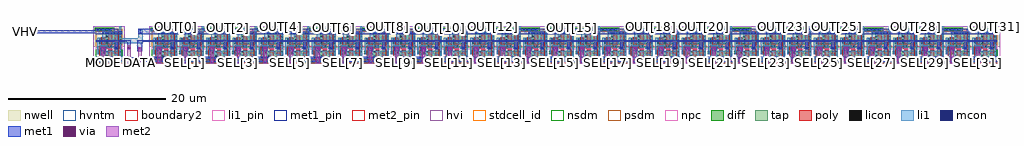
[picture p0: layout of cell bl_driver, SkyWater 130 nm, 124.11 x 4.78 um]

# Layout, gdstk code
import gdstk
lib = gdstk.Library(unit=1e-6, precision=1e-09)
def R(c, l, rs):  # rectangles x0, y0, x1, y1
    for r in rs: c.add(gdstk.rectangle(r[:2], r[2:], *l))
def A(c, l, x, y, w, h, nx, ny, dx, dy):  # array of equal rectangles
    R(c, l, [(x+i*dx, y+j*dy, x+i*dx+w, y+j*dy+h) for i in range(nx) for j in range(ny)])
def P(c, l, *ps):  # polygons
    for p in ps: c.add(gdstk.Polygon(p, *l))
nwell = (64, 20)
diff = (65, 20)
tap = (65, 44)
poly = (66, 20)
licon = (66, 44)
li1_pin = (67, 16)
li1 = (67, 20)
mcon = (67, 44)
met1_pin = (68, 16)
met1 = (68, 20)
via = (68, 44)
met2_pin = (69, 16)
met2 = (69, 20)
hvi = (75, 20)
stdcell_id = (81, 4)
nsdm = (93, 44)
psdm = (94, 20)
npc = (95, 20)
hvntm = (125, 20)
boundary2 = (236, 0)

sky130_fd_sc_hvl__einvp_ = lib.new_cell('sky130_fd_sc_hvl__einvp_1')
R(sky130_fd_sc_hvl__einvp_, nwell, [(-0.33,1.885,3.69,4.485)])
P(sky130_fd_sc_hvl__einvp_, diff, [(0.4,2.215),(0.4,2.965),(1.28,2.965),(1.28,3.715),(3.21,3.715),(3.21,2.215)],
  [(1.28,0.615),(1.28,0.945),(0.15,0.945),(0.15,1.365),(3.21,1.365),(3.21,0.615)])
R(sky130_fd_sc_hvl__einvp_, tap, [(0,-0.085,3.36,0.085), (0,3.985,2.04,4.155)])
P(sky130_fd_sc_hvl__einvp_, poly, [(1.395,1.705),(1.395,2.105),(1.565,2.105),(1.565,3.845),(2.065,3.845),(2.065,1.705)],
  [(0.435,0.14),(0.435,2.085),(0.685,2.085),(0.685,3.095),(1.185,3.095),(1.185,1.495),(0.935,1.495),(0.935,0.505),(1.565,0.505),(1.565,1.495),(2.065,1.495),(2.065,0.14)],
  [(2.425,0.485),(2.425,1.625),(2.275,1.625),(2.275,1.955),(2.425,1.955),(2.425,3.845),(2.925,3.845),(2.925,1.955),(2.945,1.955),(2.945,1.625),(2.925,1.625),(2.925,0.485)])
A(sky130_fd_sc_hvl__einvp_, licon, 0.155, -0.085, 0.17, 0.17, 7, 1, 0.48, 0)
A(sky130_fd_sc_hvl__einvp_, licon, 0.155, 3.985, 0.17, 0.17, 4, 1, 0.48, 0)
R(sky130_fd_sc_hvl__einvp_, licon, [(1.34,0.655,1.51,0.825), (2.98,0.655,3.15,0.825), (0.21,1.07,0.38,1.24), (0.99,1.07,1.16,1.24), (1.34,1.155,1.51,1.325), (2.98,1.155,3.15,1.325), (0.595,1.575,0.765,1.745), (0.935,1.575,1.105,1.745), (2.355,1.705,2.525,1.875), (2.695,1.705,2.865,1.875), (1.475,1.805,1.645,1.975), (1.815,1.805,1.985,1.975), (0.46,2.255,0.63,2.425), (2.98,2.255,3.15,2.425), (1.34,2.28,1.51,2.45), (2.98,2.67,3.15,2.84), (1.34,2.685,1.51,2.855), (0.46,2.755,0.63,2.925), (2.98,3.09,3.15,3.26), (1.34,3.1,1.51,3.27), (1.34,3.505,1.51,3.675), (2.98,3.505,3.15,3.675)])
A(sky130_fd_sc_hvl__einvp_, li1_pin, 3.035, 0.84, 0.17, 0.17, 1, 7, 0, 0.37)
A(sky130_fd_sc_hvl__einvp_, li1_pin, 2.555, 1.21, 0.17, 0.17, 1, 4, 0, 0.37)
R(sky130_fd_sc_hvl__einvp_, li1_pin, [(0.635,1.58,0.805,1.75), (1.115,1.58,1.285,1.75)])
R(sky130_fd_sc_hvl__einvp_, li1, [(0,-0.085,3.36,0.085), (0.515,1.505,1.305,1.75), (0,3.985,2.04,4.155)])
P(sky130_fd_sc_hvl__einvp_, li1, [(2.98,0.575),(2.98,1.455),(3.035,1.455),(3.035,2.125),(2.98,2.125),(2.98,4.485),(3.235,4.485),(3.235,0.575)],
  [(2.445,1.16),(2.445,1.625),(2.275,1.625),(2.275,1.955),(2.445,1.955),(2.445,2.54),(2.81,2.54),(2.81,1.955),(2.865,1.955),(2.865,1.625),(2.81,1.625),(2.81,1.16)],
  [(0.83,2.28),(0.83,3.755),(2.8,3.755),(2.8,2.71),(2.275,2.71),(2.275,2.28)],
  [(0.47,0.365),(0.47,0.735),(0.55,0.735),(0.55,1.335),(2.275,1.335),(2.275,0.99),(2.8,0.99),(2.8,0.365)],
  [(0.175,0.905),(0.175,3.005),(0.65,3.005),(0.65,2.1),(2.065,2.1),(2.065,1.725),(1.475,1.725),(1.475,1.93),(0.345,1.93),(0.345,1.335),(0.38,1.335),(0.38,0.905)])
A(sky130_fd_sc_hvl__einvp_, mcon, 0.47, 0.395, 0.17, 0.17, 7, 1, 0.36, 0)
A(sky130_fd_sc_hvl__einvp_, mcon, 0.83, 3.505, 0.17, 0.17, 6, 1, 0.36, 0)
R(sky130_fd_sc_hvl__einvp_, mcon, [(0.155,-0.085,0.325,0.085), (0.155,-0.085,0.325,0.085), (0.635,-0.085,0.805,0.085), (0.635,-0.085,0.805,0.085), (1.115,-0.085,1.285,0.085), (1.115,-0.085,1.285,0.085), (1.595,-0.085,1.765,0.085), (1.595,-0.085,1.765,0.085), (2.075,-0.085,2.245,0.085), (2.075,-0.085,2.245,0.085), (2.555,-0.085,2.725,0.085), (2.555,-0.085,2.725,0.085), (3.035,-0.085,3.205,0.085), (3.035,-0.085,3.205,0.085), (0.87,1.575,1.04,1.745), (2.5,1.705,2.67,1.875), (0.155,3.985,0.325,4.155), (0.155,3.985,0.325,4.155), (0.635,3.985,0.805,4.155), (0.635,3.985,0.805,4.155), (1.115,3.985,1.285,4.155), (1.115,3.985,1.285,4.155), (1.595,3.985,1.765,4.155), (1.595,3.985,1.765,4.155)])
R(sky130_fd_sc_hvl__einvp_, met1_pin, [(0,0,3.36,0.115), (0,0.255,3.36,0.625), (0,3.445,3.36,3.815), (0,3.955,2.82,4.07)])
R(sky130_fd_sc_hvl__einvp_, met1, [(0,-0.115,3.36,0.115), (0,0.255,3.36,0.625), (0.61,1.37,1.23,1.9), (2.42,1.54,2.82,2.49), (0,2.49,3.36,2.73), (0,3.445,3.36,3.815), (0,3.955,2.82,4.185)])
R(sky130_fd_sc_hvl__einvp_, via, [(0.87,1.57,1.04,1.74)])
R(sky130_fd_sc_hvl__einvp_, met2, [(0.7,-0.22,1.17,1.9)])
R(sky130_fd_sc_hvl__einvp_, hvi, [(-0.33,-0.265,3.69,4.485)])
R(sky130_fd_sc_hvl__einvp_, stdcell_id, [(0,0,3.36,4.07)])
R(sky130_fd_sc_hvl__einvp_, nsdm, [(0,0.215,3.36,1.885), (-0.13,3.855,2.31,4.285), (0,3.855,2.31,4.07)])
R(sky130_fd_sc_hvl__einvp_, psdm, [(-0.13,-0.215,3.49,0.215)])
P(sky130_fd_sc_hvl__einvp_, psdm, [(0,1.885),(0,3.855),(3.36,3.855),(3.36,1.985),(2.095,1.985),(2.095,2.085),(1.365,2.085),(1.365,1.885)])
P(sky130_fd_sc_hvl__einvp_, npc, [(0.495,1.475),(0.495,1.545),(0,1.545),(0,1.97),(1.375,1.97),(1.375,2.075),(2.085,2.075),(2.085,1.975),(3.36,1.975),(3.36,1.545),(1.205,1.545),(1.205,1.475)])
R(sky130_fd_sc_hvl__einvp_, hvntm, [(-0.035,0.35,3.395,1.64)])
R(sky130_fd_sc_hvl__einvp_, boundary2, [(0,0,3.36,4.07)])
sky130_fd_sc_hvl__einvp_.add(gdstk.Label('A', (2.64,2.035), layer=67, texttype=5))
sky130_fd_sc_hvl__einvp_.add(gdstk.Label('A', (2.64,1.665), layer=67, texttype=5))
sky130_fd_sc_hvl__einvp_.add(gdstk.Label('TE', (0.72,1.665), layer=67, texttype=5))
sky130_fd_sc_hvl__einvp_.add(gdstk.Label('TE', (1.2,1.665), layer=67, texttype=5))
sky130_fd_sc_hvl__einvp_.add(gdstk.Label('Z', (3.12,0.925), layer=67, texttype=5))
sky130_fd_sc_hvl__einvp_.add(gdstk.Label('Z', (3.12,1.295), layer=67, texttype=5))
sky130_fd_sc_hvl__einvp_.add(gdstk.Label('Z', (3.12,1.665), layer=67, texttype=5))
sky130_fd_sc_hvl__einvp_.add(gdstk.Label('Z', (3.12,2.035), layer=67, texttype=5))
sky130_fd_sc_hvl__einvp_.add(gdstk.Label('Z', (3.12,2.405), layer=67, texttype=5))
sky130_fd_sc_hvl__einvp_.add(gdstk.Label('Z', (3.12,2.775), layer=67, texttype=5))
sky130_fd_sc_hvl__einvp_.add(gdstk.Label('Z', (3.12,3.145), layer=67, texttype=5))
sky130_fd_sc_hvl__einvp_.add(gdstk.Label('A', (2.64,1.295), layer=67, texttype=5))
sky130_fd_sc_hvl__einvp_.add(gdstk.Label('A', (2.64,2.405), layer=67, texttype=5))
sky130_fd_sc_hvl__einvp_.add(gdstk.Label('einvp_1', (0,0), layer=83, texttype=44))
sky130_fd_sc_hvl__einvp_.add(gdstk.Label('VGND', (1.68,0.44), layer=68, texttype=5))
sky130_fd_sc_hvl__einvp_.add(gdstk.Label('VNB', (1.68,0.058), layer=68, texttype=5))
sky130_fd_sc_hvl__einvp_.add(gdstk.Label('VPWR', (1.68,3.63), layer=68, texttype=5))
sky130_fd_sc_hvl__einvp_.add(gdstk.Label('VPB', (1.68,4.013), layer=68, texttype=5))

bl_driver = lib.new_cell('bl_driver')
R(bl_driver, li1_pin, [(6.74,0.05,6.99,0.34), (6.74,0.05,6.99,0.34), (10.1,0.05,10.35,0.34), (10.1,0.05,10.35,0.34), (13.46,0.05,13.71,0.34), (13.46,0.05,13.71,0.34), (16.82,0.05,17.07,0.34), (16.82,0.05,17.07,0.34), (20.18,0.05,20.43,0.34), (20.18,0.05,20.43,0.34), (23.54,0.05,23.79,0.34), (23.54,0.05,23.79,0.34), (26.9,0.05,27.15,0.34), (26.9,0.05,27.15,0.34), (30.26,0.05,30.51,0.34), (30.26,0.05,30.51,0.34), (33.62,0.05,33.87,0.34), (33.62,0.05,33.87,0.34), (36.98,0.05,37.23,0.34), (36.98,0.05,37.23,0.34), (40.34,0.05,40.59,0.34), (40.34,0.05,40.59,0.34), (43.7,0.05,43.95,0.34), (43.7,0.05,43.95,0.34), (47.06,0.05,47.31,0.34), (47.06,0.05,47.31,0.34), (50.42,0.05,50.67,0.34), (50.42,0.05,50.67,0.34), (53.78,0.05,54.03,0.34), (53.78,0.05,54.03,0.34), (57.14,0.05,57.39,0.34), (57.14,0.05,57.39,0.34), (60.5,0.05,60.75,0.34), (60.5,0.05,60.75,0.34), (63.86,0.05,64.11,0.34), (63.86,0.05,64.11,0.34), (67.22,0.05,67.47,0.34), (67.22,0.05,67.47,0.34), (70.58,0.05,70.83,0.34), (70.58,0.05,70.83,0.34), (73.94,0.05,74.19,0.34), (73.94,0.05,74.19,0.34), (77.3,0.05,77.55,0.34), (77.3,0.05,77.55,0.34), (80.66,0.05,80.91,0.34), (80.66,0.05,80.91,0.34), (84.02,0.05,84.27,0.34), (84.02,0.05,84.27,0.34), (87.38,0.05,87.63,0.34), (87.38,0.05,87.63,0.34), (90.74,0.05,90.99,0.34), (90.74,0.05,90.99,0.34), (94.1,0.05,94.35,0.34), (94.1,0.05,94.35,0.34), (97.46,0.05,97.71,0.34), (97.46,0.05,97.71,0.34), (100.82,0.05,101.07,0.34), (100.82,0.05,101.07,0.34), (104.18,0.05,104.43,0.34), (104.18,0.05,104.43,0.34), (107.54,0.05,107.79,0.34), (107.54,0.05,107.79,0.34), (110.9,0.05,111.15,0.34), (110.9,0.05,111.15,0.34)])
R(bl_driver, li1, [(-0.38,-1.85,2.6,-1.19), (-0.38,-1.85,2.6,-1.19), (2.03,-1.85,2.6,0.05), (2.03,-1.85,2.6,0.05)])
R(bl_driver, mcon, [(2.23,-0.595,2.4,-0.425), (2.23,-0.595,2.4,-0.425), (2.23,-0.235,2.4,-0.065), (2.23,-0.235,2.4,-0.065), (2.23,-0.235,2.4,-0.065), (2.23,-0.235,2.4,-0.065)])
R(bl_driver, met1_pin, [(-12.5,-0.53,-11.85,-0.17)])
R(bl_driver, met1, [(-3.36,-4.17,111.28,-3.63), (-3.36,-4.17,111.28,-3.63), (1.91,-2.84,2.53,-2.31), (1.91,-2.84,2.53,-2.31), (1.91,-2.84,2.53,-2.31), (1.91,-2.84,2.53,-2.31), (1.91,-2.84,2.53,-2.31), (1.91,-2.84,2.53,-2.31), (1.91,-2.84,2.53,-2.31), (1.91,-2.84,2.53,-2.31), (1.91,-2.83,2.53,-1.41), (1.91,-2.83,2.53,-1.41), (0.62,-2.59,1.06,-1.41), (0.62,-2.59,1.06,-1.41), (-0.05,-1.65,0.69,-1.41), (1.91,-1.65,3.76,-1.41), (1.91,-1.65,3.76,-1.41), (2.03,-0.69,111.28,0.05), (2.03,-0.69,111.28,0.05), (-12.5,-0.53,-0.54,-0.17), (-12.5,-0.53,-0.54,-0.17)])
R(bl_driver, via, [(2.14,-2.61,2.31,-2.44), (2.14,-2.61,2.31,-2.44), (0.75,-2.44,0.92,-2.27), (0.75,-2.44,0.92,-2.27)])
R(bl_driver, met2_pin, [(0.62,-4.43,1.09,-2.31), (2,-4.43,2.47,-2.31), (2,-4.43,2.47,-2.31), (-2.66,-4.36,-2.19,-2.24), (-2.66,-4.36,-2.19,-2.24), (4.46,-4.36,4.93,-2.24), (4.46,-4.36,4.93,-2.24), (7.82,-4.36,8.29,-2.24), (7.82,-4.36,8.29,-2.24), (11.18,-4.36,11.65,-2.24), (11.18,-4.36,11.65,-2.24), (14.54,-4.36,15.01,-2.24), (14.54,-4.36,15.01,-2.24), (17.9,-4.36,18.37,-2.24), (17.9,-4.36,18.37,-2.24), (21.26,-4.36,21.73,-2.24), (21.26,-4.36,21.73,-2.24), (24.62,-4.36,25.09,-2.24), (24.62,-4.36,25.09,-2.24), (27.98,-4.36,28.45,-2.24), (27.98,-4.36,28.45,-2.24), (31.34,-4.36,31.81,-2.24), (31.34,-4.36,31.81,-2.24), (34.7,-4.36,35.17,-2.24), (34.7,-4.36,35.17,-2.24), (38.06,-4.36,38.53,-2.24), (38.06,-4.36,38.53,-2.24), (41.42,-4.36,41.89,-2.24), (41.42,-4.36,41.89,-2.24), (44.78,-4.36,45.25,-2.24), (44.78,-4.36,45.25,-2.24), (48.14,-4.36,48.61,-2.24), (48.14,-4.36,48.61,-2.24), (51.5,-4.36,51.97,-2.24), (51.5,-4.36,51.97,-2.24), (54.86,-4.36,55.33,-2.24), (54.86,-4.36,55.33,-2.24), (58.22,-4.36,58.69,-2.24), (58.22,-4.36,58.69,-2.24), (61.58,-4.36,62.05,-2.24), (61.58,-4.36,62.05,-2.24), (64.94,-4.36,65.41,-2.24), (64.94,-4.36,65.41,-2.24), (68.3,-4.36,68.77,-2.24), (68.3,-4.36,68.77,-2.24), (71.66,-4.36,72.13,-2.24), (71.66,-4.36,72.13,-2.24), (75.02,-4.36,75.49,-2.24), (75.02,-4.36,75.49,-2.24), (78.38,-4.36,78.85,-2.24), (78.38,-4.36,78.85,-2.24), (81.74,-4.36,82.21,-2.24), (81.74,-4.36,82.21,-2.24), (85.1,-4.36,85.57,-2.24), (85.1,-4.36,85.57,-2.24), (88.46,-4.36,88.93,-2.24), (88.46,-4.36,88.93,-2.24), (91.82,-4.36,92.29,-2.24), (91.82,-4.36,92.29,-2.24), (95.18,-4.36,95.65,-2.24), (95.18,-4.36,95.65,-2.24), (98.54,-4.36,99.01,-2.24), (98.54,-4.36,99.01,-2.24), (101.9,-4.36,102.37,-2.24), (101.9,-4.36,102.37,-2.24), (105.26,-4.36,105.73,-2.24), (105.26,-4.36,105.73,-2.24), (108.62,-4.36,109.09,-2.24), (108.62,-4.36,109.09,-2.24)])
R(bl_driver, met2, [(0.62,-4.43,1.09,-2.1), (0.62,-4.43,1.09,-2.1), (2,-4.43,2.47,-2.31), (2,-4.43,2.47,-2.31), (2,-4.43,2.47,-2.31), (2,-4.43,2.47,-2.31), (2,-4.43,2.47,-2.31), (2,-4.43,2.47,-2.31), (2,-4.43,2.47,-2.31), (2,-4.43,2.47,-2.31)])
r = gdstk.Reference(sky130_fd_sc_hvl__einvp_, (50.8,-4.14)); r.repetition = gdstk.Repetition(1, 1, v1=(0,0), v2=(0,0)); bl_driver.add(r)
r = gdstk.Reference(sky130_fd_sc_hvl__einvp_, (50.8,-4.14)); r.repetition = gdstk.Repetition(1, 1, v1=(0,0), v2=(0,0)); bl_driver.add(r)
r = gdstk.Reference(sky130_fd_sc_hvl__einvp_, (54.16,-4.14)); r.repetition = gdstk.Repetition(1, 1, v1=(0,0), v2=(0,0)); bl_driver.add(r)
r = gdstk.Reference(sky130_fd_sc_hvl__einvp_, (54.16,-4.14)); r.repetition = gdstk.Repetition(1, 1, v1=(0,0), v2=(0,0)); bl_driver.add(r)
r = gdstk.Reference(sky130_fd_sc_hvl__einvp_, (50.8,-4.14)); r.repetition = gdstk.Repetition(1, 1, v1=(0,0), v2=(0,0)); bl_driver.add(r)
r = gdstk.Reference(sky130_fd_sc_hvl__einvp_, (50.8,-4.14)); r.repetition = gdstk.Repetition(1, 1, v1=(0,0), v2=(0,0)); bl_driver.add(r)
r = gdstk.Reference(sky130_fd_sc_hvl__einvp_, (50.8,-4.14)); r.repetition = gdstk.Repetition(1, 1, v1=(0,0), v2=(0,0)); bl_driver.add(r)
r = gdstk.Reference(sky130_fd_sc_hvl__einvp_, (50.8,-4.14)); r.repetition = gdstk.Repetition(1, 1, v1=(0,0), v2=(0,0)); bl_driver.add(r)
r = gdstk.Reference(sky130_fd_sc_hvl__einvp_, (54.16,-4.14)); r.repetition = gdstk.Repetition(1, 1, v1=(0,0), v2=(0,0)); bl_driver.add(r)
r = gdstk.Reference(sky130_fd_sc_hvl__einvp_, (54.16,-4.14)); r.repetition = gdstk.Repetition(1, 1, v1=(0,0), v2=(0,0)); bl_driver.add(r)
r = gdstk.Reference(sky130_fd_sc_hvl__einvp_, (50.8,-4.14)); r.repetition = gdstk.Repetition(1, 1, v1=(0,0), v2=(0,0)); bl_driver.add(r)
r = gdstk.Reference(sky130_fd_sc_hvl__einvp_, (50.8,-4.14)); r.repetition = gdstk.Repetition(1, 1, v1=(0,0), v2=(0,0)); bl_driver.add(r)
r = gdstk.Reference(sky130_fd_sc_hvl__einvp_, (87.76,-4.14)); r.repetition = gdstk.Repetition(1, 1, v1=(0,0), v2=(0,0)); bl_driver.add(r)
r = gdstk.Reference(sky130_fd_sc_hvl__einvp_, (91.12,-4.14)); r.repetition = gdstk.Repetition(1, 1, v1=(0,0), v2=(0,0)); bl_driver.add(r)
r = gdstk.Reference(sky130_fd_sc_hvl__einvp_, (94.48,-4.14)); r.repetition = gdstk.Repetition(1, 1, v1=(0,0), v2=(0,0)); bl_driver.add(r)
r = gdstk.Reference(sky130_fd_sc_hvl__einvp_, (91.12,-4.14)); r.repetition = gdstk.Repetition(1, 1, v1=(0,0), v2=(0,0)); bl_driver.add(r)
r = gdstk.Reference(sky130_fd_sc_hvl__einvp_, (97.84,-4.14)); r.repetition = gdstk.Repetition(1, 1, v1=(0,0), v2=(0,0)); bl_driver.add(r)
r = gdstk.Reference(sky130_fd_sc_hvl__einvp_, (101.2,-4.14)); r.repetition = gdstk.Repetition(1, 1, v1=(0,0), v2=(0,0)); bl_driver.add(r)
r = gdstk.Reference(sky130_fd_sc_hvl__einvp_, (104.56,-4.14)); r.repetition = gdstk.Repetition(1, 1, v1=(0,0), v2=(0,0)); bl_driver.add(r)
r = gdstk.Reference(sky130_fd_sc_hvl__einvp_, (107.92,-4.14)); r.repetition = gdstk.Repetition(1, 1, v1=(0,0), v2=(0,0)); bl_driver.add(r)
r = gdstk.Reference(sky130_fd_sc_hvl__einvp_, (57.52,-4.14)); r.repetition = gdstk.Repetition(1, 1, v1=(0,0), v2=(0,0)); bl_driver.add(r)
r = gdstk.Reference(sky130_fd_sc_hvl__einvp_, (104.56,-4.14)); r.repetition = gdstk.Repetition(1, 1, v1=(0,0), v2=(0,0)); bl_driver.add(r)
r = gdstk.Reference(sky130_fd_sc_hvl__einvp_, (97.84,-4.14)); r.repetition = gdstk.Repetition(1, 1, v1=(0,0), v2=(0,0)); bl_driver.add(r)
r = gdstk.Reference(sky130_fd_sc_hvl__einvp_, (84.4,-4.14)); r.repetition = gdstk.Repetition(1, 1, v1=(0,0), v2=(0,0)); bl_driver.add(r)
r = gdstk.Reference(sky130_fd_sc_hvl__einvp_, (57.52,-4.14)); r.repetition = gdstk.Repetition(1, 1, v1=(0,0), v2=(0,0)); bl_driver.add(r)
r = gdstk.Reference(sky130_fd_sc_hvl__einvp_, (60.88,-4.14)); r.repetition = gdstk.Repetition(1, 1, v1=(0,0), v2=(0,0)); bl_driver.add(r)
r = gdstk.Reference(sky130_fd_sc_hvl__einvp_, (64.24,-4.14)); r.repetition = gdstk.Repetition(1, 1, v1=(0,0), v2=(0,0)); bl_driver.add(r)
r = gdstk.Reference(sky130_fd_sc_hvl__einvp_, (67.6,-4.14)); r.repetition = gdstk.Repetition(1, 1, v1=(0,0), v2=(0,0)); bl_driver.add(r)
r = gdstk.Reference(sky130_fd_sc_hvl__einvp_, (64.24,-4.14)); r.repetition = gdstk.Repetition(1, 1, v1=(0,0), v2=(0,0)); bl_driver.add(r)
r = gdstk.Reference(sky130_fd_sc_hvl__einvp_, (70.96,-4.14)); r.repetition = gdstk.Repetition(1, 1, v1=(0,0), v2=(0,0)); bl_driver.add(r)
r = gdstk.Reference(sky130_fd_sc_hvl__einvp_, (74.32,-4.14)); r.repetition = gdstk.Repetition(1, 1, v1=(0,0), v2=(0,0)); bl_driver.add(r)
r = gdstk.Reference(sky130_fd_sc_hvl__einvp_, (77.68,-4.14)); r.repetition = gdstk.Repetition(1, 1, v1=(0,0), v2=(0,0)); bl_driver.add(r)
r = gdstk.Reference(sky130_fd_sc_hvl__einvp_, (81.04,-4.14)); r.repetition = gdstk.Repetition(1, 1, v1=(0,0), v2=(0,0)); bl_driver.add(r)
r = gdstk.Reference(sky130_fd_sc_hvl__einvp_, (77.68,-4.14)); r.repetition = gdstk.Repetition(1, 1, v1=(0,0), v2=(0,0)); bl_driver.add(r)
r = gdstk.Reference(sky130_fd_sc_hvl__einvp_, (70.96,-4.14)); r.repetition = gdstk.Repetition(1, 1, v1=(0,0), v2=(0,0)); bl_driver.add(r)
r = gdstk.Reference(sky130_fd_sc_hvl__einvp_, (84.4,-4.14)); r.repetition = gdstk.Repetition(1, 1, v1=(0,0), v2=(0,0)); bl_driver.add(r)
r = gdstk.Reference(sky130_fd_sc_hvl__einvp_, (84.4,-4.14)); r.repetition = gdstk.Repetition(1, 1, v1=(0,0), v2=(0,0)); bl_driver.add(r)
r = gdstk.Reference(sky130_fd_sc_hvl__einvp_, (97.84,-4.14)); r.repetition = gdstk.Repetition(1, 1, v1=(0,0), v2=(0,0)); bl_driver.add(r)
r = gdstk.Reference(sky130_fd_sc_hvl__einvp_, (104.56,-4.14)); r.repetition = gdstk.Repetition(1, 1, v1=(0,0), v2=(0,0)); bl_driver.add(r)
r = gdstk.Reference(sky130_fd_sc_hvl__einvp_, (57.52,-4.14)); r.repetition = gdstk.Repetition(1, 1, v1=(0,0), v2=(0,0)); bl_driver.add(r)
r = gdstk.Reference(sky130_fd_sc_hvl__einvp_, (107.92,-4.14)); r.repetition = gdstk.Repetition(1, 1, v1=(0,0), v2=(0,0)); bl_driver.add(r)
r = gdstk.Reference(sky130_fd_sc_hvl__einvp_, (104.56,-4.14)); r.repetition = gdstk.Repetition(1, 1, v1=(0,0), v2=(0,0)); bl_driver.add(r)
r = gdstk.Reference(sky130_fd_sc_hvl__einvp_, (101.2,-4.14)); r.repetition = gdstk.Repetition(1, 1, v1=(0,0), v2=(0,0)); bl_driver.add(r)
r = gdstk.Reference(sky130_fd_sc_hvl__einvp_, (97.84,-4.14)); r.repetition = gdstk.Repetition(1, 1, v1=(0,0), v2=(0,0)); bl_driver.add(r)
r = gdstk.Reference(sky130_fd_sc_hvl__einvp_, (91.12,-4.14)); r.repetition = gdstk.Repetition(1, 1, v1=(0,0), v2=(0,0)); bl_driver.add(r)
r = gdstk.Reference(sky130_fd_sc_hvl__einvp_, (94.48,-4.14)); r.repetition = gdstk.Repetition(1, 1, v1=(0,0), v2=(0,0)); bl_driver.add(r)
r = gdstk.Reference(sky130_fd_sc_hvl__einvp_, (91.12,-4.14)); r.repetition = gdstk.Repetition(1, 1, v1=(0,0), v2=(0,0)); bl_driver.add(r)
r = gdstk.Reference(sky130_fd_sc_hvl__einvp_, (87.76,-4.14)); r.repetition = gdstk.Repetition(1, 1, v1=(0,0), v2=(0,0)); bl_driver.add(r)
r = gdstk.Reference(sky130_fd_sc_hvl__einvp_, (84.4,-4.14)); r.repetition = gdstk.Repetition(1, 1, v1=(0,0), v2=(0,0)); bl_driver.add(r)
r = gdstk.Reference(sky130_fd_sc_hvl__einvp_, (70.96,-4.14)); r.repetition = gdstk.Repetition(1, 1, v1=(0,0), v2=(0,0)); bl_driver.add(r)
r = gdstk.Reference(sky130_fd_sc_hvl__einvp_, (77.68,-4.14)); r.repetition = gdstk.Repetition(1, 1, v1=(0,0), v2=(0,0)); bl_driver.add(r)
r = gdstk.Reference(sky130_fd_sc_hvl__einvp_, (81.04,-4.14)); r.repetition = gdstk.Repetition(1, 1, v1=(0,0), v2=(0,0)); bl_driver.add(r)
r = gdstk.Reference(sky130_fd_sc_hvl__einvp_, (77.68,-4.14)); r.repetition = gdstk.Repetition(1, 1, v1=(0,0), v2=(0,0)); bl_driver.add(r)
r = gdstk.Reference(sky130_fd_sc_hvl__einvp_, (74.32,-4.14)); r.repetition = gdstk.Repetition(1, 1, v1=(0,0), v2=(0,0)); bl_driver.add(r)
r = gdstk.Reference(sky130_fd_sc_hvl__einvp_, (70.96,-4.14)); r.repetition = gdstk.Repetition(1, 1, v1=(0,0), v2=(0,0)); bl_driver.add(r)
r = gdstk.Reference(sky130_fd_sc_hvl__einvp_, (64.24,-4.14)); r.repetition = gdstk.Repetition(1, 1, v1=(0,0), v2=(0,0)); bl_driver.add(r)
r = gdstk.Reference(sky130_fd_sc_hvl__einvp_, (67.6,-4.14)); r.repetition = gdstk.Repetition(1, 1, v1=(0,0), v2=(0,0)); bl_driver.add(r)
r = gdstk.Reference(sky130_fd_sc_hvl__einvp_, (64.24,-4.14)); r.repetition = gdstk.Repetition(1, 1, v1=(0,0), v2=(0,0)); bl_driver.add(r)
r = gdstk.Reference(sky130_fd_sc_hvl__einvp_, (60.88,-4.14)); r.repetition = gdstk.Repetition(1, 1, v1=(0,0), v2=(0,0)); bl_driver.add(r)
r = gdstk.Reference(sky130_fd_sc_hvl__einvp_, (57.52,-4.14)); r.repetition = gdstk.Repetition(1, 1, v1=(0,0), v2=(0,0)); bl_driver.add(r)
r = gdstk.Reference(sky130_fd_sc_hvl__einvp_, (47.44,-4.14)); r.repetition = gdstk.Repetition(1, 1, v1=(0,0), v2=(0,0)); bl_driver.add(r)
r = gdstk.Reference(sky130_fd_sc_hvl__einvp_, (-3.36,-4.14)); r.repetition = gdstk.Repetition(1, 1, v1=(0,0), v2=(0,0)); bl_driver.add(r)
r = gdstk.Reference(sky130_fd_sc_hvl__einvp_, (3.76,-4.14)); r.repetition = gdstk.Repetition(1, 1, v1=(0,0), v2=(0,0)); bl_driver.add(r)
r = gdstk.Reference(sky130_fd_sc_hvl__einvp_, (3.76,-4.14)); r.repetition = gdstk.Repetition(1, 1, v1=(0,0), v2=(0,0)); bl_driver.add(r)
r = gdstk.Reference(sky130_fd_sc_hvl__einvp_, (7.12,-4.14)); r.repetition = gdstk.Repetition(1, 1, v1=(0,0), v2=(0,0)); bl_driver.add(r)
r = gdstk.Reference(sky130_fd_sc_hvl__einvp_, (3.76,-4.14)); r.repetition = gdstk.Repetition(1, 1, v1=(0,0), v2=(0,0)); bl_driver.add(r)
r = gdstk.Reference(sky130_fd_sc_hvl__einvp_, (3.76,-4.14)); r.repetition = gdstk.Repetition(1, 1, v1=(0,0), v2=(0,0)); bl_driver.add(r)
r = gdstk.Reference(sky130_fd_sc_hvl__einvp_, (7.12,-4.14)); r.repetition = gdstk.Repetition(1, 1, v1=(0,0), v2=(0,0)); bl_driver.add(r)
r = gdstk.Reference(sky130_fd_sc_hvl__einvp_, (10.48,-4.14)); r.repetition = gdstk.Repetition(1, 1, v1=(0,0), v2=(0,0)); bl_driver.add(r)
r = gdstk.Reference(sky130_fd_sc_hvl__einvp_, (44.08,-4.14)); r.repetition = gdstk.Repetition(1, 1, v1=(0,0), v2=(0,0)); bl_driver.add(r)
r = gdstk.Reference(sky130_fd_sc_hvl__einvp_, (44.08,-4.14)); r.repetition = gdstk.Repetition(1, 1, v1=(0,0), v2=(0,0)); bl_driver.add(r)
r = gdstk.Reference(sky130_fd_sc_hvl__einvp_, (30.64,-4.14)); r.repetition = gdstk.Repetition(1, 1, v1=(0,0), v2=(0,0)); bl_driver.add(r)
r = gdstk.Reference(sky130_fd_sc_hvl__einvp_, (30.64,-4.14)); r.repetition = gdstk.Repetition(1, 1, v1=(0,0), v2=(0,0)); bl_driver.add(r)
r = gdstk.Reference(sky130_fd_sc_hvl__einvp_, (30.64,-4.14)); r.repetition = gdstk.Repetition(1, 1, v1=(0,0), v2=(0,0)); bl_driver.add(r)
r = gdstk.Reference(sky130_fd_sc_hvl__einvp_, (30.64,-4.14)); r.repetition = gdstk.Repetition(1, 1, v1=(0,0), v2=(0,0)); bl_driver.add(r)
r = gdstk.Reference(sky130_fd_sc_hvl__einvp_, (44.08,-4.14)); r.repetition = gdstk.Repetition(1, 1, v1=(0,0), v2=(0,0)); bl_driver.add(r)
r = gdstk.Reference(sky130_fd_sc_hvl__einvp_, (44.08,-4.14)); r.repetition = gdstk.Repetition(1, 1, v1=(0,0), v2=(0,0)); bl_driver.add(r)
r = gdstk.Reference(sky130_fd_sc_hvl__einvp_, (10.48,-4.14)); r.repetition = gdstk.Repetition(1, 1, v1=(0,0), v2=(0,0)); bl_driver.add(r)
r = gdstk.Reference(sky130_fd_sc_hvl__einvp_, (13.84,-4.14)); r.repetition = gdstk.Repetition(1, 1, v1=(0,0), v2=(0,0)); bl_driver.add(r)
r = gdstk.Reference(sky130_fd_sc_hvl__einvp_, (3.76,-4.14)); r.repetition = gdstk.Repetition(1, 1, v1=(0,0), v2=(0,0)); bl_driver.add(r)
r = gdstk.Reference(sky130_fd_sc_hvl__einvp_, (3.76,-4.14)); r.repetition = gdstk.Repetition(1, 1, v1=(0,0), v2=(0,0)); bl_driver.add(r)
r = gdstk.Reference(sky130_fd_sc_hvl__einvp_, (13.84,-4.14)); r.repetition = gdstk.Repetition(1, 1, v1=(0,0), v2=(0,0)); bl_driver.add(r)
r = gdstk.Reference(sky130_fd_sc_hvl__einvp_, (10.48,-4.14)); r.repetition = gdstk.Repetition(1, 1, v1=(0,0), v2=(0,0)); bl_driver.add(r)
r = gdstk.Reference(sky130_fd_sc_hvl__einvp_, (10.48,-4.14)); r.repetition = gdstk.Repetition(1, 1, v1=(0,0), v2=(0,0)); bl_driver.add(r)
r = gdstk.Reference(sky130_fd_sc_hvl__einvp_, (17.2,-4.14)); r.repetition = gdstk.Repetition(1, 1, v1=(0,0), v2=(0,0)); bl_driver.add(r)
r = gdstk.Reference(sky130_fd_sc_hvl__einvp_, (47.44,-4.14)); r.repetition = gdstk.Repetition(1, 1, v1=(0,0), v2=(0,0)); bl_driver.add(r)
r = gdstk.Reference(sky130_fd_sc_hvl__einvp_, (47.44,-4.14)); r.repetition = gdstk.Repetition(1, 1, v1=(0,0), v2=(0,0)); bl_driver.add(r)
r = gdstk.Reference(sky130_fd_sc_hvl__einvp_, (44.08,-4.14)); r.repetition = gdstk.Repetition(1, 1, v1=(0,0), v2=(0,0)); bl_driver.add(r)
r = gdstk.Reference(sky130_fd_sc_hvl__einvp_, (44.08,-4.14)); r.repetition = gdstk.Repetition(1, 1, v1=(0,0), v2=(0,0)); bl_driver.add(r)
r = gdstk.Reference(sky130_fd_sc_hvl__einvp_, (37.36,-4.14)); r.repetition = gdstk.Repetition(1, 1, v1=(0,0), v2=(0,0)); bl_driver.add(r)
r = gdstk.Reference(sky130_fd_sc_hvl__einvp_, (37.36,-4.14)); r.repetition = gdstk.Repetition(1, 1, v1=(0,0), v2=(0,0)); bl_driver.add(r)
r = gdstk.Reference(sky130_fd_sc_hvl__einvp_, (40.72,-4.14)); r.repetition = gdstk.Repetition(1, 1, v1=(0,0), v2=(0,0)); bl_driver.add(r)
r = gdstk.Reference(sky130_fd_sc_hvl__einvp_, (40.72,-4.14)); r.repetition = gdstk.Repetition(1, 1, v1=(0,0), v2=(0,0)); bl_driver.add(r)
r = gdstk.Reference(sky130_fd_sc_hvl__einvp_, (37.36,-4.14)); r.repetition = gdstk.Repetition(1, 1, v1=(0,0), v2=(0,0)); bl_driver.add(r)
r = gdstk.Reference(sky130_fd_sc_hvl__einvp_, (37.36,-4.14)); r.repetition = gdstk.Repetition(1, 1, v1=(0,0), v2=(0,0)); bl_driver.add(r)
r = gdstk.Reference(sky130_fd_sc_hvl__einvp_, (34,-4.14)); r.repetition = gdstk.Repetition(1, 1, v1=(0,0), v2=(0,0)); bl_driver.add(r)
r = gdstk.Reference(sky130_fd_sc_hvl__einvp_, (34,-4.14)); r.repetition = gdstk.Repetition(1, 1, v1=(0,0), v2=(0,0)); bl_driver.add(r)
r = gdstk.Reference(sky130_fd_sc_hvl__einvp_, (30.64,-4.14)); r.repetition = gdstk.Repetition(1, 1, v1=(0,0), v2=(0,0)); bl_driver.add(r)
r = gdstk.Reference(sky130_fd_sc_hvl__einvp_, (30.64,-4.14)); r.repetition = gdstk.Repetition(1, 1, v1=(0,0), v2=(0,0)); bl_driver.add(r)
r = gdstk.Reference(sky130_fd_sc_hvl__einvp_, (17.2,-4.14)); r.repetition = gdstk.Repetition(1, 1, v1=(0,0), v2=(0,0)); bl_driver.add(r)
r = gdstk.Reference(sky130_fd_sc_hvl__einvp_, (17.2,-4.14)); r.repetition = gdstk.Repetition(1, 1, v1=(0,0), v2=(0,0)); bl_driver.add(r)
r = gdstk.Reference(sky130_fd_sc_hvl__einvp_, (23.92,-4.14)); r.repetition = gdstk.Repetition(1, 1, v1=(0,0), v2=(0,0)); bl_driver.add(r)
r = gdstk.Reference(sky130_fd_sc_hvl__einvp_, (23.92,-4.14)); r.repetition = gdstk.Repetition(1, 1, v1=(0,0), v2=(0,0)); bl_driver.add(r)
r = gdstk.Reference(sky130_fd_sc_hvl__einvp_, (27.28,-4.14)); r.repetition = gdstk.Repetition(1, 1, v1=(0,0), v2=(0,0)); bl_driver.add(r)
r = gdstk.Reference(sky130_fd_sc_hvl__einvp_, (27.28,-4.14)); r.repetition = gdstk.Repetition(1, 1, v1=(0,0), v2=(0,0)); bl_driver.add(r)
r = gdstk.Reference(sky130_fd_sc_hvl__einvp_, (23.92,-4.14)); r.repetition = gdstk.Repetition(1, 1, v1=(0,0), v2=(0,0)); bl_driver.add(r)
r = gdstk.Reference(sky130_fd_sc_hvl__einvp_, (23.92,-4.14)); r.repetition = gdstk.Repetition(1, 1, v1=(0,0), v2=(0,0)); bl_driver.add(r)
r = gdstk.Reference(sky130_fd_sc_hvl__einvp_, (20.56,-4.14)); r.repetition = gdstk.Repetition(1, 1, v1=(0,0), v2=(0,0)); bl_driver.add(r)
r = gdstk.Reference(sky130_fd_sc_hvl__einvp_, (20.56,-4.14)); r.repetition = gdstk.Repetition(1, 1, v1=(0,0), v2=(0,0)); bl_driver.add(r)
r = gdstk.Reference(sky130_fd_sc_hvl__einvp_, (17.2,-4.14)); r.repetition = gdstk.Repetition(1, 1, v1=(0,0), v2=(0,0)); bl_driver.add(r)
r = gdstk.Reference(sky130_fd_sc_hvl__einvp_, (17.2,-4.14)); r.repetition = gdstk.Repetition(1, 1, v1=(0,0), v2=(0,0)); bl_driver.add(r)
r = gdstk.Reference(sky130_fd_sc_hvl__einvp_, (10.48,-4.14)); r.repetition = gdstk.Repetition(1, 1, v1=(0,0), v2=(0,0)); bl_driver.add(r)
r = gdstk.Reference(sky130_fd_sc_hvl__einvp_, (10.48,-4.14)); r.repetition = gdstk.Repetition(1, 1, v1=(0,0), v2=(0,0)); bl_driver.add(r)
r = gdstk.Reference(sky130_fd_sc_hvl__einvp_, (13.84,-4.14)); r.repetition = gdstk.Repetition(1, 1, v1=(0,0), v2=(0,0)); bl_driver.add(r)
r = gdstk.Reference(sky130_fd_sc_hvl__einvp_, (13.84,-4.14)); r.repetition = gdstk.Repetition(1, 1, v1=(0,0), v2=(0,0)); bl_driver.add(r)
r = gdstk.Reference(sky130_fd_sc_hvl__einvp_, (10.48,-4.14)); r.repetition = gdstk.Repetition(1, 1, v1=(0,0), v2=(0,0)); bl_driver.add(r)
r = gdstk.Reference(sky130_fd_sc_hvl__einvp_, (10.48,-4.14)); r.repetition = gdstk.Repetition(1, 1, v1=(0,0), v2=(0,0)); bl_driver.add(r)
r = gdstk.Reference(sky130_fd_sc_hvl__einvp_, (7.12,-4.14)); r.repetition = gdstk.Repetition(1, 1, v1=(0,0), v2=(0,0)); bl_driver.add(r)
r = gdstk.Reference(sky130_fd_sc_hvl__einvp_, (7.12,-4.14)); r.repetition = gdstk.Repetition(1, 1, v1=(0,0), v2=(0,0)); bl_driver.add(r)
r = gdstk.Reference(sky130_fd_sc_hvl__einvp_, (3.76,-4.14)); r.repetition = gdstk.Repetition(1, 1, v1=(0,0), v2=(0,0)); bl_driver.add(r)
r = gdstk.Reference(sky130_fd_sc_hvl__einvp_, (3.76,-4.14)); r.repetition = gdstk.Repetition(1, 1, v1=(0,0), v2=(0,0)); bl_driver.add(r)
r = gdstk.Reference(sky130_fd_sc_hvl__einvp_, (17.2,-4.14)); r.repetition = gdstk.Repetition(1, 1, v1=(0,0), v2=(0,0)); bl_driver.add(r)
r = gdstk.Reference(sky130_fd_sc_hvl__einvp_, (20.56,-4.14)); r.repetition = gdstk.Repetition(1, 1, v1=(0,0), v2=(0,0)); bl_driver.add(r)
r = gdstk.Reference(sky130_fd_sc_hvl__einvp_, (20.56,-4.14)); r.repetition = gdstk.Repetition(1, 1, v1=(0,0), v2=(0,0)); bl_driver.add(r)
r = gdstk.Reference(sky130_fd_sc_hvl__einvp_, (23.92,-4.14)); r.repetition = gdstk.Repetition(1, 1, v1=(0,0), v2=(0,0)); bl_driver.add(r)
r = gdstk.Reference(sky130_fd_sc_hvl__einvp_, (23.92,-4.14)); r.repetition = gdstk.Repetition(1, 1, v1=(0,0), v2=(0,0)); bl_driver.add(r)
r = gdstk.Reference(sky130_fd_sc_hvl__einvp_, (27.28,-4.14)); r.repetition = gdstk.Repetition(1, 1, v1=(0,0), v2=(0,0)); bl_driver.add(r)
r = gdstk.Reference(sky130_fd_sc_hvl__einvp_, (27.28,-4.14)); r.repetition = gdstk.Repetition(1, 1, v1=(0,0), v2=(0,0)); bl_driver.add(r)
r = gdstk.Reference(sky130_fd_sc_hvl__einvp_, (23.92,-4.14)); r.repetition = gdstk.Repetition(1, 1, v1=(0,0), v2=(0,0)); bl_driver.add(r)
r = gdstk.Reference(sky130_fd_sc_hvl__einvp_, (23.92,-4.14)); r.repetition = gdstk.Repetition(1, 1, v1=(0,0), v2=(0,0)); bl_driver.add(r)
r = gdstk.Reference(sky130_fd_sc_hvl__einvp_, (17.2,-4.14)); r.repetition = gdstk.Repetition(1, 1, v1=(0,0), v2=(0,0)); bl_driver.add(r)
r = gdstk.Reference(sky130_fd_sc_hvl__einvp_, (17.2,-4.14)); r.repetition = gdstk.Repetition(1, 1, v1=(0,0), v2=(0,0)); bl_driver.add(r)
r = gdstk.Reference(sky130_fd_sc_hvl__einvp_, (30.64,-4.14)); r.repetition = gdstk.Repetition(1, 1, v1=(0,0), v2=(0,0)); bl_driver.add(r)
r = gdstk.Reference(sky130_fd_sc_hvl__einvp_, (30.64,-4.14)); r.repetition = gdstk.Repetition(1, 1, v1=(0,0), v2=(0,0)); bl_driver.add(r)
r = gdstk.Reference(sky130_fd_sc_hvl__einvp_, (34,-4.14)); r.repetition = gdstk.Repetition(1, 1, v1=(0,0), v2=(0,0)); bl_driver.add(r)
r = gdstk.Reference(sky130_fd_sc_hvl__einvp_, (34,-4.14)); r.repetition = gdstk.Repetition(1, 1, v1=(0,0), v2=(0,0)); bl_driver.add(r)
r = gdstk.Reference(sky130_fd_sc_hvl__einvp_, (37.36,-4.14)); r.repetition = gdstk.Repetition(1, 1, v1=(0,0), v2=(0,0)); bl_driver.add(r)
r = gdstk.Reference(sky130_fd_sc_hvl__einvp_, (37.36,-4.14)); r.repetition = gdstk.Repetition(1, 1, v1=(0,0), v2=(0,0)); bl_driver.add(r)
r = gdstk.Reference(sky130_fd_sc_hvl__einvp_, (40.72,-4.14)); r.repetition = gdstk.Repetition(1, 1, v1=(0,0), v2=(0,0)); bl_driver.add(r)
r = gdstk.Reference(sky130_fd_sc_hvl__einvp_, (40.72,-4.14)); r.repetition = gdstk.Repetition(1, 1, v1=(0,0), v2=(0,0)); bl_driver.add(r)
r = gdstk.Reference(sky130_fd_sc_hvl__einvp_, (37.36,-4.14)); r.repetition = gdstk.Repetition(1, 1, v1=(0,0), v2=(0,0)); bl_driver.add(r)
r = gdstk.Reference(sky130_fd_sc_hvl__einvp_, (37.36,-4.14)); r.repetition = gdstk.Repetition(1, 1, v1=(0,0), v2=(0,0)); bl_driver.add(r)
r = gdstk.Reference(sky130_fd_sc_hvl__einvp_, (44.08,-4.14)); r.repetition = gdstk.Repetition(1, 1, v1=(0,0), v2=(0,0)); bl_driver.add(r)
r = gdstk.Reference(sky130_fd_sc_hvl__einvp_, (44.08,-4.14)); r.repetition = gdstk.Repetition(1, 1, v1=(0,0), v2=(0,0)); bl_driver.add(r)
r = gdstk.Reference(sky130_fd_sc_hvl__einvp_, (47.44,-4.14)); r.repetition = gdstk.Repetition(1, 1, v1=(0,0), v2=(0,0)); bl_driver.add(r)
r = gdstk.Reference(sky130_fd_sc_hvl__einvp_, (-3.36,-4.14)); r.repetition = gdstk.Repetition(1, 1, v1=(0,0), v2=(0,0)); bl_driver.add(r)
bl_driver.add(gdstk.Label('OUT[0]', (6.88,0.25), layer=67, texttype=5))
bl_driver.add(gdstk.Label('OUT[1]', (10.21,0.24), layer=67, texttype=5))
bl_driver.add(gdstk.Label('OUT[2]', (13.55,0.22), layer=67, texttype=5))
bl_driver.add(gdstk.Label('OUT[3]', (16.94,0.23), layer=67, texttype=5))
bl_driver.add(gdstk.Label('OUT[4]', (20.3,0.27), layer=67, texttype=5))
bl_driver.add(gdstk.Label('OUT[5]', (23.63,0.26), layer=67, texttype=5))
bl_driver.add(gdstk.Label('OUT[6]', (26.97,0.24), layer=67, texttype=5))
bl_driver.add(gdstk.Label('OUT[7]', (30.36,0.25), layer=67, texttype=5))
bl_driver.add(gdstk.Label('OUT[8]', (33.79,0.26), layer=67, texttype=5))
bl_driver.add(gdstk.Label('OUT[9]', (37.12,0.25), layer=67, texttype=5))
bl_driver.add(gdstk.Label('OUT[10]', (40.46,0.23), layer=67, texttype=5))
bl_driver.add(gdstk.Label('OUT[11]', (43.85,0.24), layer=67, texttype=5))
bl_driver.add(gdstk.Label('OUT[12]', (47.2,0.25), layer=67, texttype=5))
bl_driver.add(gdstk.Label('OUT[13]', (50.53,0.24), layer=67, texttype=5))
bl_driver.add(gdstk.Label('OUT[14]', (53.87,0.22), layer=67, texttype=5))
bl_driver.add(gdstk.Label('OUT[15]', (57.26,0.23), layer=67, texttype=5))
bl_driver.add(gdstk.Label('OUT[16]', (60.65,0.29), layer=67, texttype=5))
bl_driver.add(gdstk.Label('OUT[17]', (63.98,0.28), layer=67, texttype=5))
bl_driver.add(gdstk.Label('OUT[18]', (67.32,0.26), layer=67, texttype=5))
bl_driver.add(gdstk.Label('OUT[19]', (70.71,0.27), layer=67, texttype=5))
bl_driver.add(gdstk.Label('OUT[20]', (74.07,0.31), layer=67, texttype=5))
bl_driver.add(gdstk.Label('OUT[21]', (77.4,0.3), layer=67, texttype=5))
bl_driver.add(gdstk.Label('OUT[22]', (80.74,0.28), layer=67, texttype=5))
bl_driver.add(gdstk.Label('OUT[23]', (84.13,0.29), layer=67, texttype=5))
bl_driver.add(gdstk.Label('OUT[24]', (87.56,0.3), layer=67, texttype=5))
bl_driver.add(gdstk.Label('OUT[25]', (90.89,0.29), layer=67, texttype=5))
bl_driver.add(gdstk.Label('OUT[26]', (94.23,0.27), layer=67, texttype=5))
bl_driver.add(gdstk.Label('OUT[27]', (97.62,0.28), layer=67, texttype=5))
bl_driver.add(gdstk.Label('OUT[28]', (100.97,0.29), layer=67, texttype=5))
bl_driver.add(gdstk.Label('OUT[29]', (104.3,0.28), layer=67, texttype=5))
bl_driver.add(gdstk.Label('OUT[30]', (107.64,0.26), layer=67, texttype=5))
bl_driver.add(gdstk.Label('OUT[31]', (111.03,0.27), layer=67, texttype=5))
bl_driver.add(gdstk.Label('VHV', (-12.27,-0.35), layer=68, texttype=5))
bl_driver.add(gdstk.Label('SEL[31]', (108.83,-4.25), layer=69, texttype=5))
bl_driver.add(gdstk.Label('SEL[30]', (105.44,-4.26), layer=69, texttype=5))
bl_driver.add(gdstk.Label('SEL[29]', (102.1,-4.24), layer=69, texttype=5))
bl_driver.add(gdstk.Label('SEL[28]', (98.77,-4.23), layer=69, texttype=5))
bl_driver.add(gdstk.Label('SEL[27]', (95.42,-4.24), layer=69, texttype=5))
bl_driver.add(gdstk.Label('SEL[26]', (92.03,-4.25), layer=69, texttype=5))
bl_driver.add(gdstk.Label('SEL[25]', (88.69,-4.23), layer=69, texttype=5))
bl_driver.add(gdstk.Label('SEL[24]', (85.36,-4.22), layer=69, texttype=5))
bl_driver.add(gdstk.Label('SEL[23]', (81.93,-4.23), layer=69, texttype=5))
bl_driver.add(gdstk.Label('SEL[22]', (78.54,-4.24), layer=69, texttype=5))
bl_driver.add(gdstk.Label('SEL[21]', (75.2,-4.22), layer=69, texttype=5))
bl_driver.add(gdstk.Label('SEL[20]', (71.87,-4.21), layer=69, texttype=5))
bl_driver.add(gdstk.Label('SEL[19]', (68.51,-4.25), layer=69, texttype=5))
bl_driver.add(gdstk.Label('SEL[18]', (65.12,-4.26), layer=69, texttype=5))
bl_driver.add(gdstk.Label('SEL[17]', (61.78,-4.24), layer=69, texttype=5))
bl_driver.add(gdstk.Label('SEL[16]', (58.45,-4.23), layer=69, texttype=5))
bl_driver.add(gdstk.Label('SEL[15]', (55.06,-4.29), layer=69, texttype=5))
bl_driver.add(gdstk.Label('SEL[14]', (51.67,-4.3), layer=69, texttype=5))
bl_driver.add(gdstk.Label('SEL[13]', (48.33,-4.28), layer=69, texttype=5))
bl_driver.add(gdstk.Label('SEL[12]', (45,-4.27), layer=69, texttype=5))
bl_driver.add(gdstk.Label('SEL[11]', (41.65,-4.28), layer=69, texttype=5))
bl_driver.add(gdstk.Label('SEL[10]', (38.26,-4.29), layer=69, texttype=5))
bl_driver.add(gdstk.Label('SEL[9]', (34.92,-4.27), layer=69, texttype=5))
bl_driver.add(gdstk.Label('SEL[8]', (31.59,-4.26), layer=69, texttype=5))
bl_driver.add(gdstk.Label('SEL[7]', (28.16,-4.27), layer=69, texttype=5))
bl_driver.add(gdstk.Label('SEL[6]', (24.77,-4.28), layer=69, texttype=5))
bl_driver.add(gdstk.Label('SEL[5]', (21.43,-4.26), layer=69, texttype=5))
bl_driver.add(gdstk.Label('SEL[4]', (18.1,-4.25), layer=69, texttype=5))
bl_driver.add(gdstk.Label('SEL[3]', (14.74,-4.29), layer=69, texttype=5))
bl_driver.add(gdstk.Label('SEL[2]', (11.35,-4.3), layer=69, texttype=5))
bl_driver.add(gdstk.Label('SEL[1]', (8.01,-4.28), layer=69, texttype=5))
bl_driver.add(gdstk.Label('SEL[0]', (4.68,-4.27), layer=69, texttype=5))
bl_driver.add(gdstk.Label('DATA', (2.22,-4.31), layer=69, texttype=5))
bl_driver.add(gdstk.Label('G_ENABLE', (0.82,-4.29), layer=69, texttype=5))
bl_driver.add(gdstk.Label('MODE', (-2.44,-4.27), layer=69, texttype=5))

lib.write_gds('bl_driver.gds')
